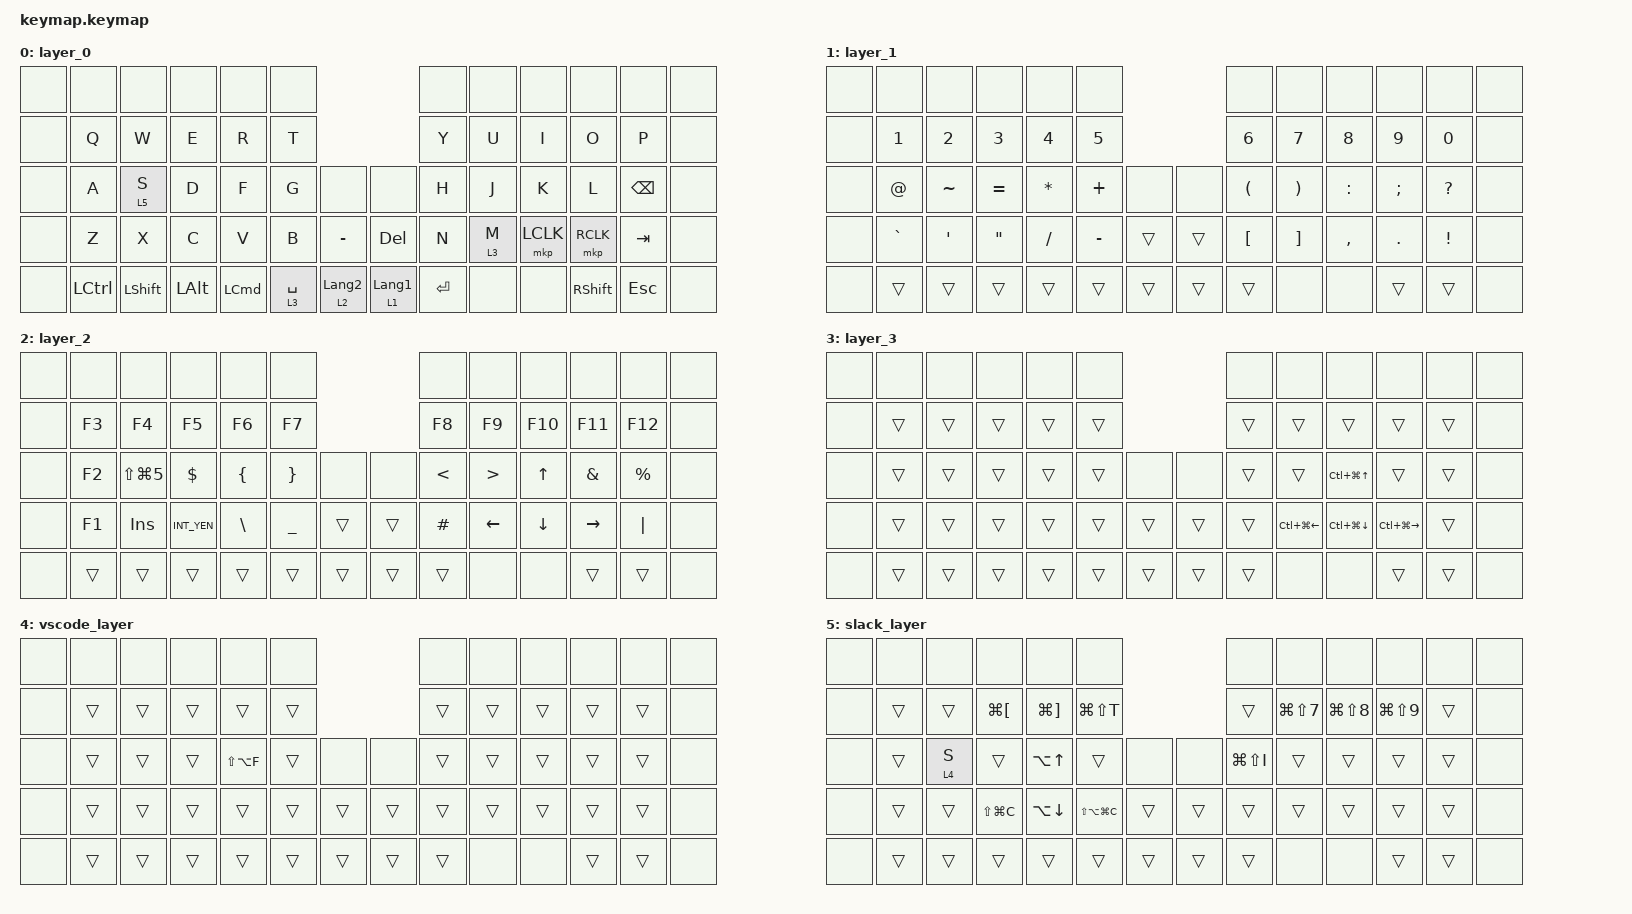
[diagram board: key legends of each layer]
#include <behaviors.dtsi>
#include <dt-bindings/zmk/bt.h>
#include <dt-bindings/zmk/keys.h>
#include <dt-bindings/zmk/pointing.h>

/ {
    combos {
        compatible = "zmk,combos";

        bt_clear {
            bindings = <&bt BT_CLR>;
            key-positions = <28 29>;
            layers = <2>;
        };
    };

    keymap {
        compatible = "zmk,keymap";

        layer_0 {
            bindings = <
&none  &none      &none           &none     &none             &none                                            &none      &none    &none      &none            &none          &none
&none  &kp Q      &kp W           &kp E     &kp R             &kp T                                            &kp Y      &kp U    &kp I      &kp O            &kp P          &none
&none  &kp A      &lt 5 S         &kp D     &kp F             &kp G        &none             &none             &kp H      &kp J    &kp K      &kp L            &kp BACKSPACE  &none
&none  &kp Z      &kp X           &kp C     &kp V             &kp B        &kp MINUS         &kp DELETE        &kp N      &lt 3 M  &mkp LCLK  &mkp RCLK        &kp TAB        &none
&none  &kp LCTRL  &kp LEFT_SHIFT  &kp LALT  &kp LEFT_COMMAND  &lt 3 SPACE  &lt 2 LANGUAGE_2  &lt 1 LANGUAGE_1  &kp ENTER  &none    &none      &kp RIGHT_SHIFT  &kp ESCAPE     &none
            >;
        };

        layer_1 {
            bindings = <
&none  &none         &none             &none              &none         &none                         &none                 &none                  &none         &none          &none            &none
&none  &kp NUMBER_1  &kp NUMBER_2      &kp NUMBER_3       &kp NUMBER_4  &kp NUMBER_5                  &kp NUMBER_6          &kp NUMBER_7           &kp NUMBER_8  &kp NUMBER_9   &kp NUMBER_0     &none
&none  &kp AT        &kp TILDE         &kp EQUAL          &kp ASTERISK  &kp PLUS      &none   &none   &kp LEFT_PARENTHESIS  &kp RIGHT_PARENTHESIS  &kp COLON     &kp SEMICOLON  &kp QUESTION     &none
&none  &kp GRAVE     &kp SINGLE_QUOTE  &kp DOUBLE_QUOTES  &kp SLASH     &kp MINUS     &trans  &trans  &kp LEFT_BRACKET      &kp RIGHT_BRACKET      &kp COMMA     &kp PERIOD     &kp EXCLAMATION  &none
&none  &trans        &trans            &trans             &trans        &trans        &trans  &trans  &trans                &none                  &none         &trans         &trans           &none
            >;
        };

        layer_2 {
            bindings = <
&none  &none   &none                 &none        &none           &none                            &none          &none             &none           &none            &none        &none
&none  &kp F3  &kp F4                &kp F5       &kp F6          &kp F7                           &kp F8         &kp F9            &kp F10         &kp F11          &kp F12      &none
&none  &kp F2  &kp LS(LG(NUMBER_5))  &kp DOLLAR   &kp LEFT_BRACE  &kp RIGHT_BRACE  &none   &none   &kp LESS_THAN  &kp GREATER_THAN  &kp UP_ARROW    &kp AMPERSAND    &kp PERCENT  &none
&none  &kp F1  &kp INS               &kp INT_YEN  &kp BACKSLASH   &kp UNDERSCORE   &trans  &trans  &kp HASH       &kp LEFT_ARROW    &kp DOWN_ARROW  &kp RIGHT_ARROW  &kp PIPE     &none
&none  &trans  &trans                &trans       &trans          &trans           &trans  &trans  &trans         &none             &none           &trans           &trans       &none
            >;
        };

        layer_3 {
            bindings = <
&none  &none   &none   &none   &none   &none                   &none   &none                   &none                   &none                    &none   &none
&none  &trans  &trans  &trans  &trans  &trans                  &trans  &trans                  &trans                  &trans                   &trans  &none
&none  &trans  &trans  &trans  &trans  &trans  &none   &none   &trans  &trans                  &kp LC(LG(UP_ARROW))    &trans                   &trans  &none
&none  &trans  &trans  &trans  &trans  &trans  &trans  &trans  &trans  &kp LC(LG(LEFT_ARROW))  &kp LC(LG(DOWN_ARROW))  &kp LC(LG(RIGHT_ARROW))  &trans  &none
&none  &trans  &trans  &trans  &trans  &trans  &trans  &trans  &trans  &none                   &none                   &trans                   &trans  &none
            >;
        };

        vscode_layer {
            bindings = <
&none  &none   &none   &none   &none          &none                   &none   &none   &none   &none   &none   &none
&none  &trans  &trans  &trans  &trans         &trans                  &trans  &trans  &trans  &trans  &trans  &none
&none  &trans  &trans  &trans  &kp LS(LA(F))  &trans  &none   &none   &trans  &trans  &trans  &trans  &trans  &none
&none  &trans  &trans  &trans  &trans         &trans  &trans  &trans  &trans  &trans  &trans  &trans  &trans  &none
&none  &trans  &trans  &trans  &trans         &trans  &trans  &trans  &trans  &none   &none   &trans  &trans  &none
            >;
        };

        slack_layer {
            bindings = <
&none  &none   &none    &none                 &none                  &none                              &none          &none                 &none                 &none                 &none   &none
&none  &trans  &trans   &kp LG(LEFT_BRACKET)  &kp LG(RIGHT_BRACKET)  &kp LG(LS(T))                      &trans         &kp LG(LS(NUMBER_7))  &kp LG(LS(NUMBER_8))  &kp LG(LS(NUMBER_9))  &trans  &none
&none  &trans  &lt 4 S  &trans                &kp LA(UP_ARROW)       &trans             &none   &none   &kp LG(LS(I))  &trans                &trans                &trans                &trans  &none
&none  &trans  &trans   &kp LS(LG(C))         &kp LA(DOWN_ARROW)     &kp LS(LA(LG(C)))  &trans  &trans  &trans         &trans                &trans                &trans                &trans  &none
&none  &trans  &trans   &trans                &trans                 &trans             &trans  &trans  &trans         &none                 &none                 &trans                &trans  &none
            >;
        };
    };
};
